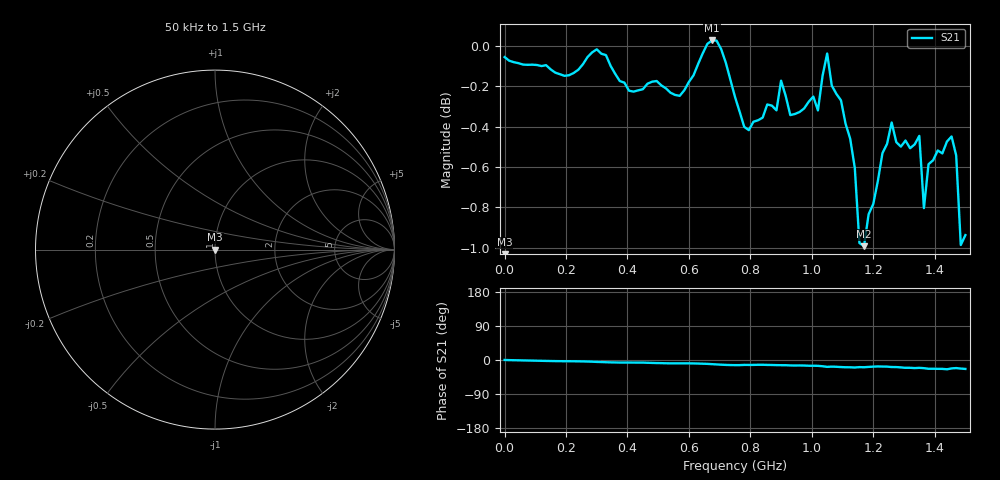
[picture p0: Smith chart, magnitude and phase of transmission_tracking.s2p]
! Created with skrf 1.8.0 (http://scikit-rf.org).
# Hz S RI R 50.0
!freq ReS11 ImS11 ReS21 ImS21 ReS12 ImS12 ReS22 ImS22
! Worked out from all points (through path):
!   101 points, 50 kHz to 1.5 GHz, reference 50 ohm
!   highest |S21| = 0.03 dB at 675 MHz (marker M1); lowest = -1.0 dB at 1.17 GHz (marker M2)
!   group delay of S21, straight-line fit = 43.1 ps
!   lowest |S11| = - dB at 50 kHz (marker M3), VSWR 1.00, Z = 50 + j0 ohm
!   |S11| at or under -10 dB: start of sweep to end of sweep
!   S12 and S22 are empty: the file has one direction only
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50000  0 0  0.9936 0.00145  0 0  0 0
2.550415e8  0 0  0.9874 -0.0647  0 0  0 0
3.450385e8  0 0  0.9828 -0.1077  0 0  0 0
5.10033e8  0 0  0.9676 -0.1405  0 0  0 0
6.150295e8  0 0  0.971 -0.155  0 0  0 0
6.750275e8  0 0  0.9849 -0.1902  0 0  0 0
7.50025e8  0 0  0.9444 -0.227  0 0  0 0
8.40022e8  0 0  0.9368 -0.2093  0 0  0 0
1.005016e9  0 0  0.9378 -0.2536  0 0  0 0
1.050015e9  0 0  0.9464 -0.309  0 0  0 0
1.065014e9  0 0  0.9326 -0.2933  0 0  0 0
1.140012e9  0 0  0.8775 -0.3163  0 0  0 0
1.170011e9  0 0  0.8428 -0.2921  0 0  0 0
1.21501e9  0 0  0.8852 -0.271  0 0  0 0
1.260008e9  0 0  0.9076 -0.3042  0 0  0 0
1.350005e9  0 0  0.8887 -0.3357  0 0  0 0
1.365004e9  0 0  0.8478 -0.3351  0 0  0 0
1.380004e9  0 0  0.8597 -0.3669  0 0  0 0
1.440002e9  0 0  0.8618 -0.3922  0 0  0 0
1.470001e9  0 0  0.8753 -0.3413  0 0  0 0
1.485e9  0 0  0.8239 -0.3436  0 0  0 0
1.5e9  0 0  0.823 -0.3584  0 0  0 0
